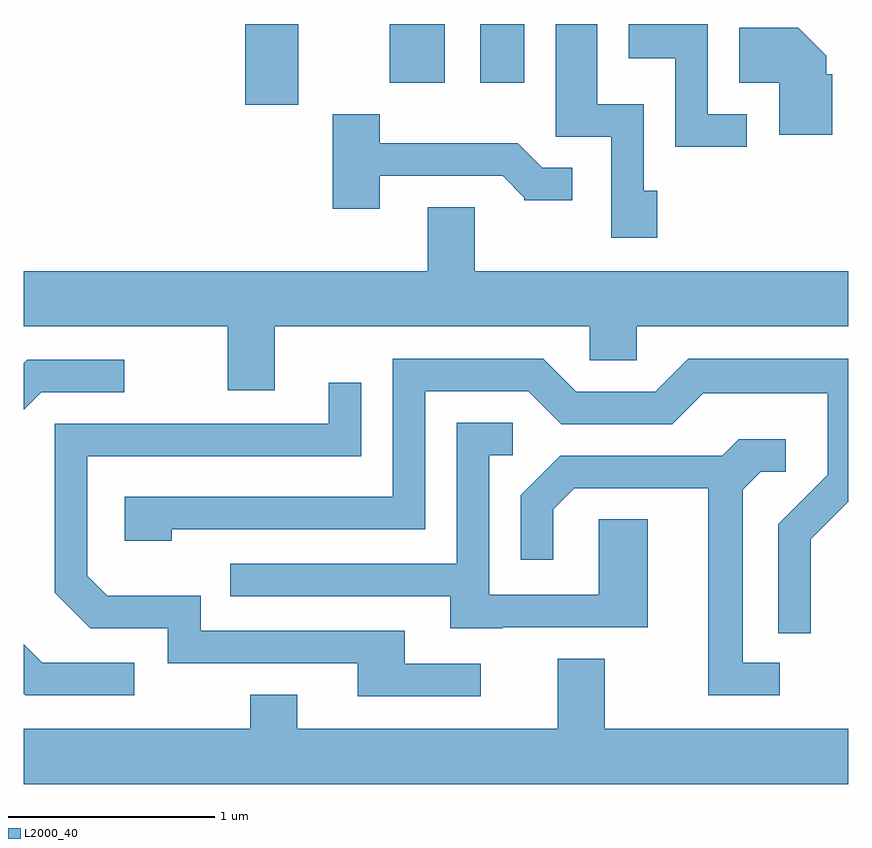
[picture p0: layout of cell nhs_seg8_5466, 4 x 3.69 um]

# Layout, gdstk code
import gdstk
lib = gdstk.Library(unit=1e-6, precision=1e-09)
def R(c, l, rs):  # rectangles x0, y0, x1, y1
    for r in rs: c.add(gdstk.rectangle(r[:2], r[2:], *l))
def P(c, l, *ps):  # polygons
    for p in ps: c.add(gdstk.Polygon(p, *l))
L2000_40 = (2000, 40)

nhs_seg8_5466 = lib.new_cell('nhs_seg8_5466')
R(nhs_seg8_5466, L2000_40, [(350.686,1821.951,350.944,1822.342), (351.386,1822.056,351.654,1822.342), (351.826,1822.056,352.039,1822.342)])
P(nhs_seg8_5466, L2000_40, [(352.684,1821.534),(352.619,1821.534),(352.619,1821.954),(352.394,1821.954),(352.394,1822.342),(352.191,1822.342),(352.191,1821.796),(352.461,1821.796),(352.461,1821.306),(352.684,1821.306)],
  [(353.118,1821.904),(352.929,1821.904),(352.929,1822.342),(352.546,1822.342),(352.546,1822.176),(352.771,1822.176),(352.771,1821.746),(353.118,1821.746)],
  [(353.534,1822.099),(353.504,1822.099),(353.504,1822.187),(353.367,1822.324),(353.081,1822.324),(353.081,1822.056),(353.276,1822.056),(353.276,1821.806),(353.534,1821.806)],
  [(351.339,1821.606),(351.934,1821.606),(352.04,1821.5),(352.04,1821.486),(352.273,1821.486),(352.273,1821.644),(352.127,1821.644),(352.007,1821.764),(351.339,1821.764),(351.339,1821.904),(351.111,1821.904),(351.111,1821.446),(351.339,1821.446)],
  [(350.829,1820.876),(352.356,1820.876),(352.356,1820.711),(352.584,1820.711),(352.584,1820.876),(353.611,1820.876),(353.611,1821.144),(351.799,1821.144),(351.799,1821.454),(351.571,1821.454),(351.571,1821.144),(349.611,1821.144),(349.611,1820.876),(350.601,1820.876),(350.601,1820.566),(350.829,1820.566)],
  [(353.429,1819.844),(353.611,1820.026),(353.611,1820.719),(352.834,1820.719),(352.674,1820.559),(352.292,1820.559),(352.132,1820.719),(351.401,1820.719),(351.401,1820.049),(350.101,1820.049),(350.101,1819.836),(350.329,1819.836),(350.329,1819.891),(351.559,1819.891),(351.559,1820.561),(352.059,1820.561),(352.219,1820.401),(352.757,1820.401),(352.907,1820.551),(353.511,1820.551),(353.511,1820.157),(353.271,1819.917),(353.271,1819.388),(353.429,1819.388)],
  [(349.697,1820.556),(350.098,1820.556),(350.098,1820.714),(349.629,1820.714),(349.611,1820.696),(349.611,1820.471)],
  [(351.828,1819.239),(351.459,1819.239),(351.459,1819.399),(350.469,1819.399),(350.469,1819.569),(350.017,1819.569),(349.919,1819.667),(349.919,1820.246),(351.249,1820.246),(351.249,1820.603),(351.091,1820.603),(351.091,1820.404),(349.761,1820.404),(349.761,1819.584),(349.934,1819.411),(350.311,1819.411),(350.311,1819.241),(351.231,1819.241),(351.231,1819.081),(351.828,1819.081)],
  [(351.935,1819.416),(352.639,1819.416),(352.639,1819.939),(352.401,1819.939),(352.401,1819.574),(351.869,1819.574),(351.869,1820.251),(351.983,1820.251),(351.983,1820.409),(351.711,1820.409),(351.711,1819.724),(350.613,1819.724),(350.613,1819.566),(351.681,1819.566),(351.681,1819.411),(351.935,1819.411)],
  [(353.278,1819.244),(353.099,1819.244),(353.099,1820.084),(353.187,1820.171),(353.308,1820.171),(353.308,1820.329),(353.079,1820.329),(352.999,1820.249),(352.214,1820.249),(352.021,1820.057),(352.021,1819.743),(352.179,1819.743),(352.179,1819.989),(352.282,1820.091),(352.931,1820.091),(352.931,1819.086),(353.278,1819.086)],
  [(350.148,1819.244),(349.702,1819.244),(349.611,1819.335),(349.611,1819.094),(349.619,1819.086),(350.148,1819.086)],
  [(353.611,1818.924),(352.429,1818.924),(352.429,1819.264),(352.201,1819.264),(352.201,1818.924),(350.939,1818.924),(350.939,1819.089),(350.711,1819.089),(350.711,1818.924),(349.611,1818.924),(349.611,1818.656),(353.611,1818.656)])

lib.write_gds('nhs_seg8_5466.gds')
